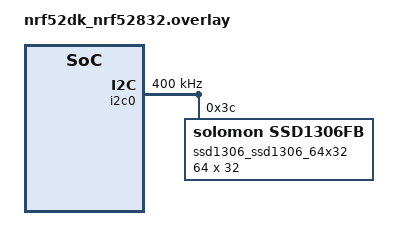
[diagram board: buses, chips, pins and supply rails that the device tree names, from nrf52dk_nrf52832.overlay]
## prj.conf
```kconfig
CONFIG_MAIN_STACK_SIZE=2048

CONFIG_DISPLAY=y
CONFIG_I2C=y
CONFIG_DISPLAY_LOG_LEVEL_ERR=y
CONFIG_SSD1306=y

CONFIG_GPIO=y

CONFIG_LOG=y

CONFIG_LVGL=y
CONFIG_LV_MEM_CUSTOM=y
CONFIG_LV_USE_LOG=y
CONFIG_LV_USE_LABEL=y
CONFIG_LV_USE_BTN=y
CONFIG_LV_USE_IMG=y
CONFIG_LV_FONT_MONTSERRAT_12=y

CONFIG_LV_Z_VDB_SIZE=64
CONFIG_LV_DPI_DEF=148
CONFIG_LV_COLOR_DEPTH_1=y
```

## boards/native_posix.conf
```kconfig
CONFIG_LV_COLOR_DEPTH_32=y
CONFIG_GPIO=y
CONFIG_KSCAN=y
CONFIG_INPUT=y
CONFIG_LV_Z_POINTER_KSCAN=y
```

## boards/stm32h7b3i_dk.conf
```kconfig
CONFIG_LV_Z_POINTER_KSCAN=y
```

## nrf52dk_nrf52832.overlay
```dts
// To get started, press Ctrl+Space to bring up the completion menu and view the available nodes.

// You can also use the buttons in the sidebar to perform actions on nodes.
// Actions currently available include:

// * Enabling / disabling the node
// * Adding the bus to a bus
// * Removing the node
// * Connecting ADC channels

// For more help, browse the DeviceTree documentation at https://docs.zephyrproject.org/latest/guides/dts/index.html
// You can also visit the nRF DeviceTree extension documentation at https://nrfconnect.github.io/vscode-nrf-connect/devicetree/nrfdevicetree.html
/ {
	chosen {
		zephyr,display = &ssd1306_ssd1306_64x32;
	};
};

&pinctrl {
    i2c0_default: i2c0_default {
        group1 {
            psels = <NRF_PSEL(TWIM_SDA, 0, 26)>, 
                <NRF_PSEL(TWIM_SCL, 0, 27)>;     
        };
    };

    i2c0_sleep: i2c0_sleep {
        group1 {
            psels = <NRF_PSEL(TWIM_SDA, 0, 26)>, 
                <NRF_PSEL(TWIM_SCL, 0, 27)>;     
            low-power-enable;
        };
    };
};

arduino_i2c: &i2c0 {
	compatible = "nordic,nrf-twi";
	status = "okay";
	clock-frequency = <I2C_BITRATE_FAST>;
    
  
	ssd1306_ssd1306_64x32: ssd1306@3c {
		compatible = "solomon,ssd1306fb";
		reg = <0x3c>;
		width = <64>;
		height = <32>;
		segment-offset = <0x20>;
		page-offset = <0>;
		display-offset = <0>;
		multiplex-ratio = <31>;
		segment-remap;
		com-invdir;
		prechargep = <0x1f>;
		inversion-on;
	};
};
```

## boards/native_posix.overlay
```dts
/*
 * Copyright (c) 2022, Basalte bv
 *
 * SPDX-License-Identifier: Apache-2.0
 */


/ {
	aliases {
		sw0 = &button0;
	};

	keys {
		compatible = "gpio-keys";
		button0: button0 {
			/* gpio0 pin 0 is already aliased to led0 */
			gpios = <&gpio0 1 GPIO_ACTIVE_HIGH>;
		};
	};
};

&gpio0 {
	ngpios = <2>;

	sdl_gpio {
		status = "okay";
		compatible = "zephyr,gpio-emul-sdl";
		/* Skip pin 0 with the unknown code 0 */
		scancodes = <0 21>;
	};
};
```

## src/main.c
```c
/*
 * Copyright (c) 2018 Jan Van Winkel <jan.van_winkel@dxplore.eu>
 *
 * SPDX-License-Identifier: Apache-2.0
 */

#include <zephyr/device.h>
#include <zephyr/devicetree.h>
#include <zephyr/drivers/display.h>
#include <zephyr/drivers/gpio.h>
#include <lvgl.h>
#include <stdio.h>
#include <string.h>
#include <zephyr/kernel.h>

#define LOG_LEVEL CONFIG_LOG_DEFAULT_LEVEL
#include <zephyr/logging/log.h>
LOG_MODULE_REGISTER(app);

static uint32_t count;

#ifdef CONFIG_GPIO
static struct gpio_dt_spec button_gpio = GPIO_DT_SPEC_GET_OR(DT_ALIAS(sw0), gpios, {0});
static struct gpio_callback button_callback;

static void button_isr_callback(const struct device *port,
				struct gpio_callback *cb,
				uint32_t pins)
{
	ARG_UNUSED(port);
	ARG_UNUSED(cb);
	ARG_UNUSED(pins);
	printk("Button One Pressed\n\r");
	// lv_label_set_text(sqp_label, "PQS");

	count = 0;
}
#endif

int main(void)
{
	int err;
	char count_str[11] = {0};
	const struct device *display_dev;
	lv_obj_t *clock_label;
	lv_obj_t *right_border;
	lv_obj_t *top_border;
	lv_obj_t *bottom_border;
	lv_obj_t *left_border;
	lv_obj_t *center_marker;


	display_dev = DEVICE_DT_GET(DT_CHOSEN(zephyr_display));
	if (!device_is_ready(display_dev)) {
		LOG_ERR("Device not ready, aborting test");
		return 0;
	}

#ifdef CONFIG_GPIO
	if (device_is_ready(button_gpio.port)) {
		err = gpio_pin_configure_dt(&button_gpio, GPIO_INPUT);
		if (err) {
			LOG_ERR("failed to configure button gpio: %d", err);
			return 0;
		}

		gpio_init_callback(&button_callback, button_isr_callback,
				   BIT(button_gpio.pin));

		err = gpio_add_callback(button_gpio.port, &button_callback);
		if (err) {
			LOG_ERR("failed to add button callback: %d", err);
			return 0;
		}

		err = gpio_pin_interrupt_configure_dt(&button_gpio,
						      GPIO_INT_EDGE_TO_ACTIVE);
		if (err) {
			LOG_ERR("failed to enable button callback: %d", err);
			return 0;
		}
	}
#endif

	right_border = lv_label_create(lv_scr_act());
	lv_label_set_text(right_border, "|");
	lv_obj_align(right_border, LV_ALIGN_RIGHT_MID, 0, 0);

	left_border = lv_label_create(lv_scr_act());
	lv_label_set_text(left_border, "|");
	lv_obj_align(left_border, LV_ALIGN_LEFT_MID, 0, 0);

	top_border = lv_label_create(lv_scr_act());
	lv_label_set_text(top_border, "--");
	lv_obj_align(top_border, LV_ALIGN_TOP_MID, 0, 0);

	bottom_border = lv_label_create(lv_scr_act());
	lv_label_set_text(bottom_border, "--");
	lv_obj_align(bottom_border, LV_ALIGN_BOTTOM_MID, 0, 0);

	center_marker = lv_label_create(lv_scr_act());
	lv_obj_align(center_marker, LV_ALIGN_CENTER, 0, 0);

	// clock_label = lv_label_create(lv_scr_act());
	// lv_obj_align(clock_label, LV_ALIGN_CENTER, 4, 0);

	lv_task_handler();
	display_blanking_off(display_dev);

	while (1) {
		if ((count % 100) == 0U) {
			sprintf(count_str, "%d", count/100U);
			lv_label_set_text(center_marker, "+");
			// lv_label_set_text(clock_label, count_str);
		}
		lv_task_handler();
		++count;
		k_sleep(K_MSEC(10));
	}
}
```
